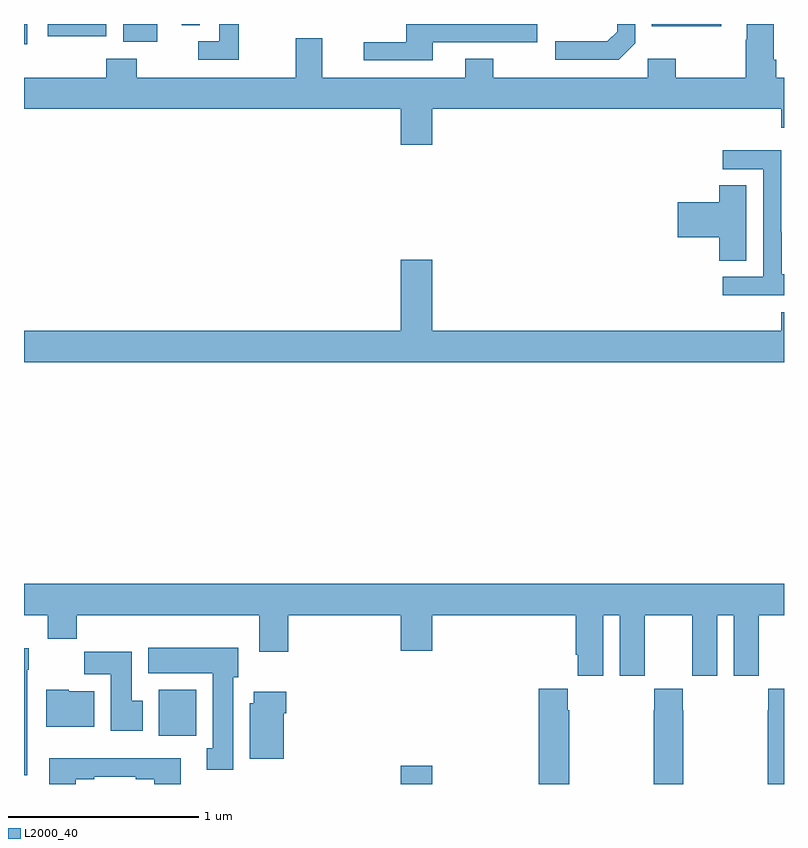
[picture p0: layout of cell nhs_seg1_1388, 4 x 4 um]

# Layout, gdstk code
import gdstk
lib = gdstk.Library(unit=1e-6, precision=1e-09)
def R(c, l, rs):  # rectangles x0, y0, x1, y1
    for r in rs: c.add(gdstk.rectangle(r[:2], r[2:], *l))
def P(c, l, *ps):  # polygons
    for p in ps: c.add(gdstk.Polygon(p, *l))
L2000_40 = (2000, 40)

nhs_seg1_1388 = lib.new_cell('nhs_seg1_1388')
R(nhs_seg1_1388, L2000_40, [(188.984,528.199,189.148,528.295), (187.709,528.452,187.906,528.694), (187,532.092,187.018,532.199), (187.523,532.106,187.702,532.199), (187.125,532.135,187.434,532.199), (190.303,532.187,190.67,532.199), (187.83,532.192,187.926,532.199)])
P(nhs_seg1_1388, L2000_40, [(189.148,531.752),(190.985,531.752),(190.985,531.653),(191,531.653),(191,531.916),(190.958,531.916),(190.958,532.012),(190.945,532.012),(190.945,532.199),(190.805,532.199),(190.805,532.115),(190.798,532.115),(190.798,531.916),(190.431,531.916),(190.431,532.015),(190.284,532.015),(190.284,531.916),(189.471,531.916),(189.471,532.015),(189.323,532.015),(189.323,531.916),(188.569,531.916),(188.569,532.124),(188.429,532.124),(188.429,531.916),(187.593,531.916),(187.593,532.015),(187.433,532.015),(187.433,531.916),(187,531.916),(187,531.752),(188.984,531.752),(188.984,531.564),(189.148,531.564)],
  [(190.218,532.098),(190.218,532.199),(190.122,532.199),(190.122,532.158),(190.071,532.107),(189.795,532.107),(189.795,532.011),(190.131,532.011)],
  [(189.151,532.104),(189.702,532.104),(189.702,532.199),(189.011,532.199),(189.011,532.104),(188.787,532.104),(188.787,532.008),(189.151,532.008)],
  [(188.131,532.199),(188.027,532.199),(188.027,532.107),(187.917,532.107),(187.917,532.011),(188.131,532.011)],
  [(191,530.881),(190.989,530.881),(190.989,531.104),(190.986,531.104),(190.986,531.534),(190.677,531.534),(190.677,531.435),(190.89,531.435),(190.89,530.868),(190.677,530.868),(190.677,530.772),(191,530.772)],
  [(190.801,531.35),(190.658,531.35),(190.658,531.26),(190.44,531.26),(190.44,531.077),(190.658,531.077),(190.658,530.953),(190.801,530.953)],
  [(191,530.683),(190.985,530.683),(190.985,530.584),(189.148,530.584),(189.148,530.959),(188.984,530.959),(188.984,530.584),(187,530.584),(187,530.42),(191,530.42)],
  [(190.048,529.088),(190.136,529.088),(190.136,528.768),(190.266,528.768),(190.266,528.88),(190.267,528.88),(190.267,529.088),(190.517,529.088),(190.517,528.88),(190.518,528.88),(190.518,528.768),(190.648,528.768),(190.648,529.088),(190.736,529.088),(190.736,528.768),(190.866,528.768),(190.866,528.88),(190.867,528.88),(190.867,529.088),(191,529.088),(191,529.252),(187,529.252),(187,529.088),(187.126,529.088),(187.126,528.964),(187.277,528.964),(187.277,529.088),(188.237,529.088),(188.237,528.894),(188.39,528.894),(188.39,529.088),(188.984,529.088),(188.984,528.9),(189.148,528.9),(189.148,529.088),(189.905,529.088),(189.905,528.88),(189.914,528.88),(189.914,528.768),(190.048,528.768)],
  [(188.101,528.762),(188.128,528.762),(188.128,528.916),(187.655,528.916),(187.655,528.782),(187.994,528.782),(187.994,528.386),(187.961,528.386),(187.961,528.273),(188.101,528.273)],
  [(187.018,528.8),(187.026,528.8),(187.026,528.913),(187,528.913),(187,528.246),(187.018,528.246)],
  [(187.624,528.636),(187.567,528.636),(187.567,528.895),(187.318,528.895),(187.318,528.776),(187.457,528.776),(187.457,528.48),(187.624,528.48)],
  [(189.87,528.587),(189.863,528.587),(189.863,528.7),(189.71,528.7),(189.71,528.199),(189.87,528.199)],
  [(191,528.7),(190.917,528.7),(190.917,528.587),(190.915,528.587),(190.915,528.199),(191,528.199)],
  [(190.47,528.587),(190.467,528.587),(190.467,528.7),(190.317,528.7),(190.317,528.587),(190.315,528.587),(190.315,528.199),(190.47,528.199)],
  [(187.369,528.688),(187.236,528.688),(187.236,528.694),(187.118,528.694),(187.118,528.5),(187.369,528.5)],
  [(188.368,528.572),(188.381,528.572),(188.381,528.685),(188.21,528.685),(188.21,528.624),(188.189,528.624),(188.189,528.332),(188.368,528.332)],
  [(187.273,528.225),(187.369,528.225),(187.369,528.237),(187.589,528.237),(187.589,528.225),(187.685,528.225),(187.685,528.199),(187.825,528.199),(187.825,528.334),(187.133,528.334),(187.133,528.199),(187.273,528.199)])

lib.write_gds('nhs_seg1_1388.gds')
